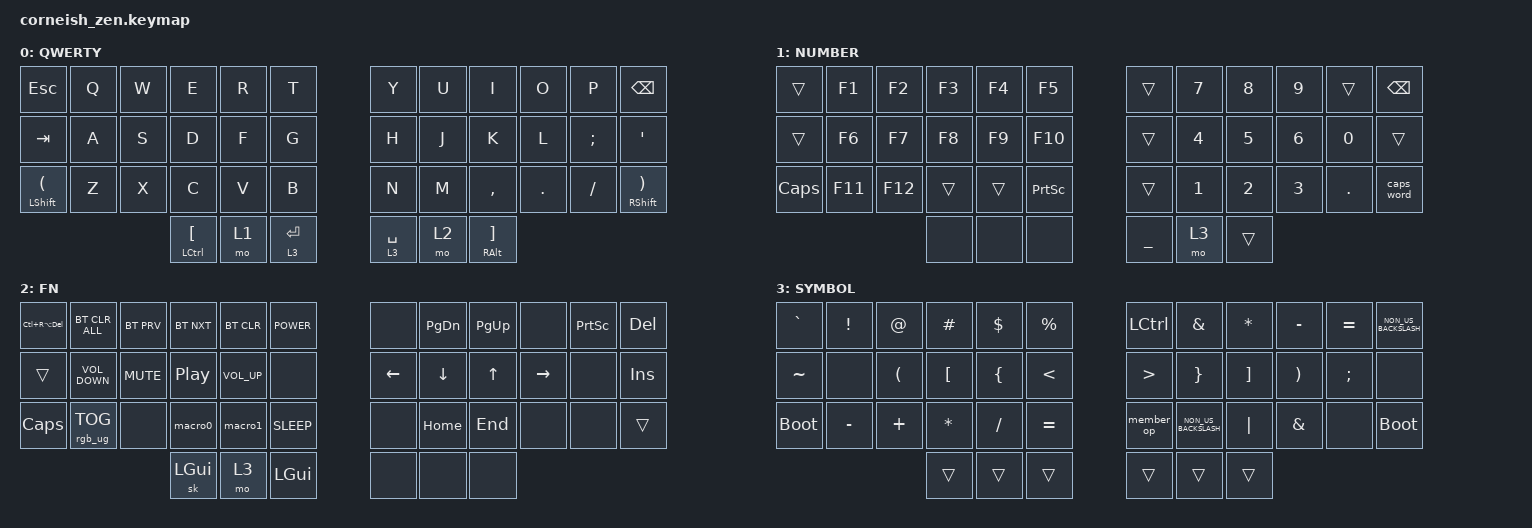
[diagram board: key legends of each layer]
/*
 * Copyright (c) 2020 The ZMK Contributors
 *
 * SPDX-License-Identifier: MIT
 */

#include <behaviors.dtsi>
#include <dt-bindings/zmk/bt.h>
#include <dt-bindings/zmk/keys.h>
#include <dt-bindings/zmk/rgb.h>

/ {
    chosen {
        zmk,matrix_transform = &default_transform;

        // zmk,matrix_transform = &five_column_transform;
    };
};

/ {
    behaviors {
        td0: td0 {
            compatible = "zmk,behavior-tap-dance";
            label = "TD0";
            #binding-cells = <0>;
            bindings = <&kp LEFT_SHIFT>, <&kp CAPS>;
        };
    };

    macros {
        macro0: macro0 {
            compatible = "zmk,behavior-macro";
            #binding-cells = <0>;
            bindings = <&kp K &kp N8 &kp N4 &kp N0 &kp N5 &kp N9 &kp N1>;
            label = "MACRO0";
        };

        macro1: macro1 {
            compatible = "zmk,behavior-macro";
            #binding-cells = <0>;
            bindings = <&kp LS(W) &kp N5 &kp D &kp L &kp N1 &kp LS(U) &kp LS(V) &kp O>;
            label = "MACRO1";
        };

        member_op: member_op {
            compatible = "zmk,behavior-macro";
            #binding-cells = <0>;
            bindings = <&kp MINUS &kp GT>;
            label = "MEMBER_OP";
        };
    };

    keymap {
        compatible = "zmk,keymap";

        default_layer {
            display-name = "QWERTY";

            // --------------------------------------------------------------------------------
            // |  TAB |  Q  |  W  |  E  |  R  |  T  |   |  Y  |  U   |  I  |  O  |  P  | BKSP |
            // | CTRL |  A  |  S  |  D  |  F  |  G  |   |  H  |  J   |  K  |  L  |  ;  |  '   | 
            // | SHFT |  Z  |  X  |  C  |  V  |  B  |   |  N  |  M   |  ,  |  .  |  /  | ESC  |
            //                    | GUI | LWR | SPC |   | ENT | RSE  | ALT |

            bindings = <
&kp ESC                          &kp Q  &kp W  &kp E                   &kp R  &kp T          &kp Y        &kp U  &kp I                   &kp O    &kp P     &kp BSPC
&kp TAB                          &kp A  &kp S  &kp D                   &kp F  &kp G          &kp H        &kp J  &kp K                   &kp L    &kp SEMI  &kp SQT
&mt LEFT_SHIFT LEFT_PARENTHESIS  &kp Z  &kp X  &kp C                   &kp V  &kp B          &kp N        &kp M  &kp COMMA               &kp DOT  &kp FSLH  &mt RIGHT_SHIFT RIGHT_PARENTHESIS
                                               &mt LCTRL LEFT_BRACKET  &mo 1  &lt 3 ENTER    &lt 3 SPACE  &mo 2  &mt RALT RIGHT_BRACKET
            >;
        };

        lower_layer {
            display-name = "NUMBER";

            // -----------------------------------------------------------------------------------------
            // |  TAB |  1  |  2  |  3  |  4  |  5  |   |  6  |  7  |  8  |  9  |  0  | BKSP |
            // | BTCLR| BT1 | BT2 | BT3 | BT4 | BT5 |   | LFT | DWN |  UP | RGT |     |      |
            // | SHFT |     |     |     |     |     |   |     |     |     |     |     |      |
            //                    | GUI |     | SPC |   | ENT |     | ALT |

            bindings = <
&trans    &kp F1   &kp F2   &kp F3  &kp F4  &kp F5             &trans          &kp N7        &kp N8        &kp N9        &trans      &kp BSPC
&trans    &kp F6   &kp F7   &kp F8  &kp F9  &kp F10            &trans          &kp NUMBER_4  &kp N5        &kp NUMBER_6  &kp N0      &trans
&kp CAPS  &kp F11  &kp F12  &trans  &trans  &kp PRINTSCREEN    &trans          &kp NUMBER_1  &kp NUMBER_2  &kp NUMBER_3  &kp PERIOD  &caps_word
                            &none   &none   &none              &kp UNDERSCORE  &mo 3         &trans
            >;
        };

        raise_layer {
            display-name = "FN";

            // -----------------------------------------------------------------------------------------
            // |  TAB |  !  |  @  |  #  |  $  |  %  |   |  ^  |  &  |  *  |  (  |  )  | BKSP |
            // | CTRL |     |     |     |     |     |   |  -  |  =  |  [  |  ]  |  \  |  `   |
            // | SHFT |     |     |     |     |     |   |  _  |  +  |  {  |  }  | "|" |  ~   |
            //                    | GUI |     | SPC |   | ENT |     | ALT |

            bindings = <
&kp LC(RA(DELETE))  &bt BT_CLR_ALL     &bt BT_PRV  &bt BT_NXT        &bt BT_CLR       &kp C_POWER     &none           &kp PAGE_DOWN  &kp PAGE_UP   &none      &kp PRINTSCREEN  &kp DELETE
&trans              &kp C_VOLUME_DOWN  &kp C_MUTE  &kp C_PLAY_PAUSE  &kp C_VOLUME_UP  &none           &kp LEFT_ARROW  &kp DOWN       &kp UP_ARROW  &kp RIGHT  &none            &kp INSERT
&kp CAPSLOCK        &rgb_ug RGB_TOG    &none       &macro0           &macro1          &kp C_SLEEP     &none           &kp HOME       &kp END       &none      &none            &trans
                                                   &sk LEFT_GUI      &mo 3            &kp LEFT_GUI    &none           &none          &none
            >;
        };

        layer_3 {
            display-name = "SYMBOL";
            bindings = <
&kp GRAVE    &kp EXCLAMATION  &kp AT_SIGN           &kp HASH          &kp DOLLAR      &kp PERCENT      &kp LCTRL         &kp AMPERSAND         &kp ASTERISK       &kp MINUS              &kp EQUAL      &kp NON_US_BACKSLASH
&kp TILDE    &none            &kp LEFT_PARENTHESIS  &kp LEFT_BRACKET  &kp LEFT_BRACE  &kp LESS_THAN    &kp GREATER_THAN  &kp RIGHT_BRACE       &kp RIGHT_BRACKET  &kp RIGHT_PARENTHESIS  &kp SEMICOLON  &none
&bootloader  &kp MINUS        &kp PLUS              &kp ASTERISK      &kp SLASH       &kp EQUAL        &member_op        &kp NON_US_BACKSLASH  &kp PIPE           &kp AMPERSAND          &none          &bootloader
                                                    &trans            &trans          &trans           &trans            &trans                &trans
            >;
        };
    };
};
